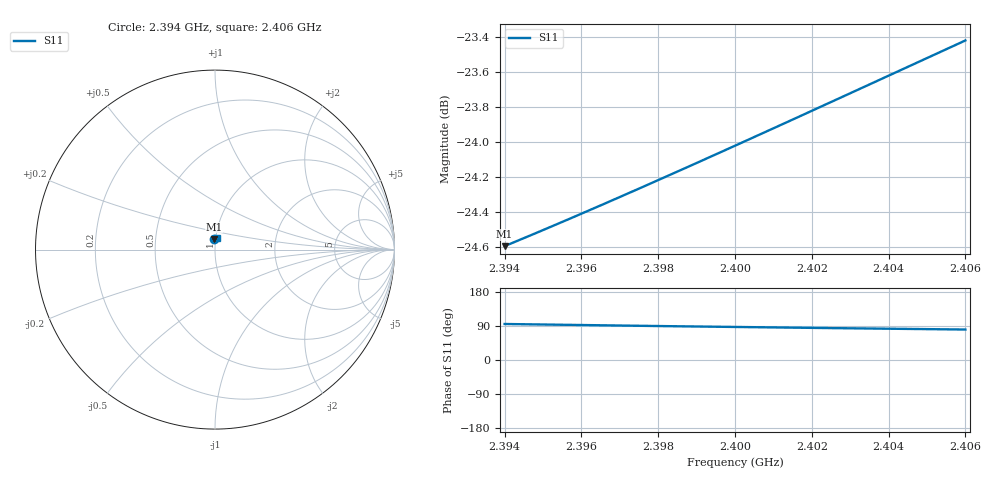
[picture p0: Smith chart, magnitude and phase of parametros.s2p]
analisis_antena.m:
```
clear;
close all;

%load('2_4ghz.mat');
% Design antenna at frequency 2400000000Hz
antennaObject = design(horn,2400000000);
% show for horn
figure;
show(antennaObject) 

impedancia_referencia = 50;
ancho_banda = 12e6;
frecuencia_central = 2.4e9;
paso_frecuencia = 1e3; %intervalo entre muestras del vector de frecuencia

eje_frecuencias = (frecuencia_central-(ancho_banda/2)):paso_frecuencia:(frecuencia_central+(ancho_banda/2));
%%
% calcula la impedancia de la antena
impedancia = impedance(Design,eje_frecuencias);
figure
plot(eje_frecuencias,impedancia)
title('impedancia de la antena');



%se calculan los parametros s de la antena
parametros_s = sparameters(Design, eje_frecuencias,impedancia_referencia);
% se guardan los parametros s de la antena
rfwrite(parametros_s,'parametros.s2p');
%%
% se calcula la red de adaptacion de la antena
red_adaptacion = matchingnetwork('SourceImpedance','parametros.s2p','LoadImpedance',impedancia_referencia,'CenterFrequency',frecuencia_central,'Bandwidth',ancho_banda);
[circuit_list, performance] = circuitDescriptions(red_adaptacion);
rfplot(red_adaptacion,eje_frecuencias,1)
smithplot(red_adaptacion)
parametros_s_adaptado = sparameters(red_adaptacion,eje_frecuencias,impedancia_referencia,1);
figure
rfplot(parametros_s_adaptado)

%%
%se exporta la antena
stlwrite(mesh(antennaObject),'antena_v1.stl')
```
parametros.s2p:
# GHz S RI R 50
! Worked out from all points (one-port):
!   12001 points, 2.394 GHz to 2.406 GHz, reference 50 ohm
!   lowest |S11| = -24.6 dB at 2.394 GHz (marker M1), VSWR 1.13, Z = 49.2 + j5.79 ohm
!   |S11| at or under -10 dB: start of sweep to end of sweep
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2.394  -0.00513 0.0587
2.394056  -0.00505 0.0587
2.394413  -0.00456 0.059
2.395042  -0.00368 0.0595
2.39569  -0.00278 0.0599
2.396808  -0.00124 0.0607
2.398  0.000408 0.0615
2.398885  0.00162 0.0621
2.399831  0.00292 0.0628
2.402  0.00587 0.0641
2.403962  0.00852 0.0653
2.40594  0.0112 0.0665
2.40597  0.0112 0.0665
2.406  0.0113 0.0665
